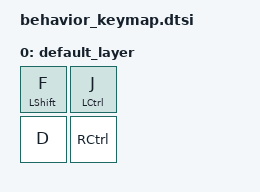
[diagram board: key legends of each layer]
#include <dt-bindings/zmk/keys.h>
#include <behaviors.dtsi>
#include <dt-bindings/zmk/kscan_mock.h>

/ {
    behaviors {
        tp: behavior_tap_preferred {
            compatible = "zmk,behavior-hold-tap";
            #binding-cells = <2>;
            flavor = "tap-preferred";
            tapping-term-ms = <300>;
            quick-tap-ms = <200>;
            bindings = <&kp>, <&kp>;
        };
    };

    keymap {
        compatible = "zmk,keymap";

        default_layer {
            bindings = <
                &tp LEFT_SHIFT F &tp LEFT_CONTROL J
                &kp D &kp RIGHT_CONTROL>;
        };
    };
};
